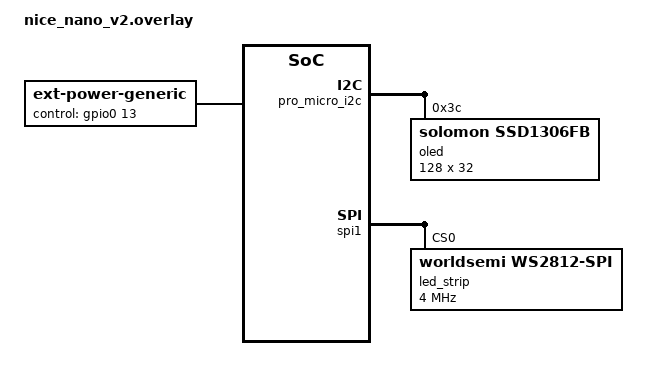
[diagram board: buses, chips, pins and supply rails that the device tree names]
/*
 * nice_nano_v2.overlay
 *
 * Adds:
 *  - SSD1306 OLED (unchanged)
 *  - WS2812 RGB underglow via SPI (nice!nano v2 exposes SPI on P0.06)
 *  - ext-power node to cut LED power during sleep
 */

/ {
    chosen {
        zmk,display       = &oled;
        zmk,underglow     = &led_strip;     /* ← wire ZMK to the strip */
    };

    ext-power {
        compatible        = "zmk,ext-power-generic";
        control-gpios     = <&gpio0 13 GPIO_ACTIVE_HIGH>;
    };
};

/* ── OLED ─────────────────────────────────────────────────────────────────── */
&pro_micro_i2c {
    status = "okay";

    oled: ssd1306@3c {
        compatible        = "solomon,ssd1306fb";
        reg               = <0x3c>;
        width             = <128>;
        height            = <32>;
        segment-offset    = <0>;
        page-offset       = <0>;
        display-offset    = <0>;
        multiplex-ratio   = <31>;
        segment-remap;
        com-invdir;
        com-sequential;
        prechargep        = <0x22>;
    };
};

/* ── RGB underglow (WS2812 / SK6812 via SPI MOSI = P0.06) ────────────────── */
/*
 * The nice!nano v2 does not expose a dedicated SPI peripheral on the standard
 * Pro-Micro pin-out, so we use the software-controlled SPI (spi_gpio / bitbang)
 * that ZMK's nRF52840 board files expose as &spi1.
 *
 * Physical wiring:
 *   DATA-IN of your LED strip  →  nice!nano pin 4 (P0.06 / D4 in Pro-Micro numbering)
 *   VCC of strip               →  EXT_POWER (switch via the ext-power node above)
 *   GND of strip               →  GND
 *
 * If your strip is on a different pin, change mosi-pin accordingly.
 */
&spi1 {
    compatible = "nordic,nrf-spim";
    status     = "okay";

    pinctrl-0  = <&spi1_default>;
    pinctrl-names = "default";

    /* WS2812 requires 800 kHz carrier; ZMK's driver handles the encoding */
    led_strip: ws2812@0 {
        compatible        = "worldsemi,ws2812-spi";
        reg               = <0>;
        spi-max-frequency = <4000000>;

        /*
         * Set chain-length to the total number of RGB LEDs on each half.
         * Sofle RGB typically has 6 underglow LEDs per half → adjust if yours differ.
         */
        chain-length      = <6>;
        spi-one-frame     = <0x70>;
        spi-zero-frame    = <0x40>;
        color-mapping     = <LED_COLOR_ID_GREEN LED_COLOR_ID_RED LED_COLOR_ID_BLUE>;
    };
};
